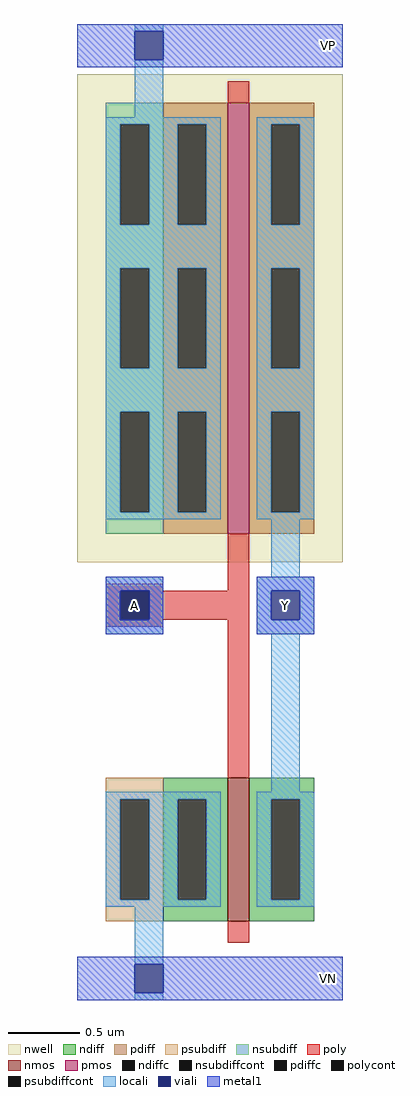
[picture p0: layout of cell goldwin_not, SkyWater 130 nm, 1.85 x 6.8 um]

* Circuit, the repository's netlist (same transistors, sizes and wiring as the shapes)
* NGSPICE file created from goldwin_not.ext - technology: sky130A

.subckt goldwin_not A Y VP VN
X0 Y A VN VN sky130_fd_pr__nfet_01v8 ad=0.45 pd=2.9 as=0.45 ps=2.9 w=1 l=0.15
X1 Y A VP VP sky130_fd_pr__pfet_01v8 ad=1.35 pd=6.9 as=1.35 ps=6.9 w=3 l=0.15
.ends

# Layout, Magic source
magic
tech sky130A
<< nwell >>
rect -105 250 80 590
<< nmos >>
rect 0 0 15 100
<< pmos >>
rect 0 270 15 570
<< ndiff >>
rect -45 85 0 100
rect -45 15 -35 85
rect -15 15 0 85
rect -45 0 0 15
rect 15 85 60 100
rect 15 15 30 85
rect 50 15 60 85
rect 15 0 60 15
<< pdiff >>
rect -45 555 0 570
rect -45 485 -35 555
rect -15 485 0 555
rect -45 455 0 485
rect -45 385 -35 455
rect -15 385 0 455
rect -45 355 0 385
rect -45 285 -35 355
rect -15 285 0 355
rect -45 270 0 285
rect 15 555 60 570
rect 15 485 30 555
rect 50 485 60 555
rect 15 455 60 485
rect 15 385 30 455
rect 50 385 60 455
rect 15 355 60 385
rect 15 285 30 355
rect 50 285 60 355
rect 15 270 60 285
<< ndiffc >>
rect -35 15 -15 85
rect 30 15 50 85
<< pdiffc >>
rect -35 485 -15 555
rect -35 385 -15 455
rect -35 285 -15 355
rect 30 485 50 555
rect 30 385 50 455
rect 30 285 50 355
<< psubdiff >>
rect -85 85 -45 100
rect -85 15 -75 85
rect -55 15 -45 85
rect -85 0 -45 15
<< nsubdiff >>
rect -85 555 -45 570
rect -85 485 -75 555
rect -55 485 -45 555
rect -85 455 -45 485
rect -85 385 -75 455
rect -55 385 -45 455
rect -85 355 -45 385
rect -85 285 -75 355
rect -55 285 -45 355
rect -85 270 -45 285
<< psubdiffcont >>
rect -75 15 -55 85
<< nsubdiffcont >>
rect -75 485 -55 555
rect -75 385 -55 455
rect -75 285 -55 355
<< poly >>
rect 0 570 15 585
rect -85 230 -45 235
rect 0 230 15 270
rect -85 210 -75 230
rect -55 210 15 230
rect -85 205 -45 210
rect 0 100 15 210
rect 0 -15 15 0
<< polycont >>
rect -75 210 -55 230
<< locali >>
rect -65 620 -45 625
rect -65 560 -45 600
rect -85 555 -5 560
rect -85 485 -75 555
rect -55 485 -35 555
rect -15 485 -5 555
rect -85 455 -5 485
rect -85 385 -75 455
rect -55 385 -35 455
rect -15 385 -5 455
rect -85 355 -5 385
rect -85 285 -75 355
rect -55 285 -35 355
rect -15 285 -5 355
rect -85 280 -5 285
rect 20 555 60 560
rect 20 485 30 555
rect 50 485 60 555
rect 20 455 60 485
rect 20 385 30 455
rect 50 385 60 455
rect 20 355 60 385
rect 20 285 30 355
rect 50 285 60 355
rect 20 280 60 285
rect 30 240 50 280
rect -85 230 -45 240
rect -85 210 -75 230
rect -55 210 -45 230
rect -85 200 -45 210
rect 20 230 60 240
rect 20 210 30 230
rect 50 210 60 230
rect 20 200 60 210
rect 30 90 50 200
rect -85 85 -5 90
rect -85 15 -75 85
rect -55 15 -35 85
rect -15 15 -5 85
rect -85 10 -5 15
rect 20 85 60 90
rect 20 15 30 85
rect 50 15 60 85
rect 20 10 60 15
rect -65 -30 -45 10
rect -65 -55 -45 -50
<< viali >>
rect -65 600 -45 620
rect -75 210 -55 230
rect 30 210 50 230
rect -65 -50 -45 -30
<< metal1 >>
rect -105 620 80 625
rect -105 600 -65 620
rect -45 600 80 620
rect -105 595 80 600
rect -85 230 -45 240
rect -85 210 -75 230
rect -55 210 -45 230
rect -85 200 -45 210
rect 20 230 60 240
rect 20 210 30 230
rect 50 210 60 230
rect 20 200 60 210
rect -105 -30 80 -25
rect -105 -50 -65 -30
rect -45 -50 80 -30
rect -105 -55 80 -50
<< labels >>
flabel metal1 60 -55 80 -25 1 FreeSans 200 0 0 -120 VN
port 4 n
flabel metal1 60 595 80 625 1 FreeSans 200 0 0 -120 VP
port 3 n
flabel metal1 -85 200 -45 240 1 FreeSans 200 0 0 -120 A
port 1 n
flabel metal1 20 200 60 240 1 FreeSans 200 0 0 -120 Y
port 2 n
<< end >>
